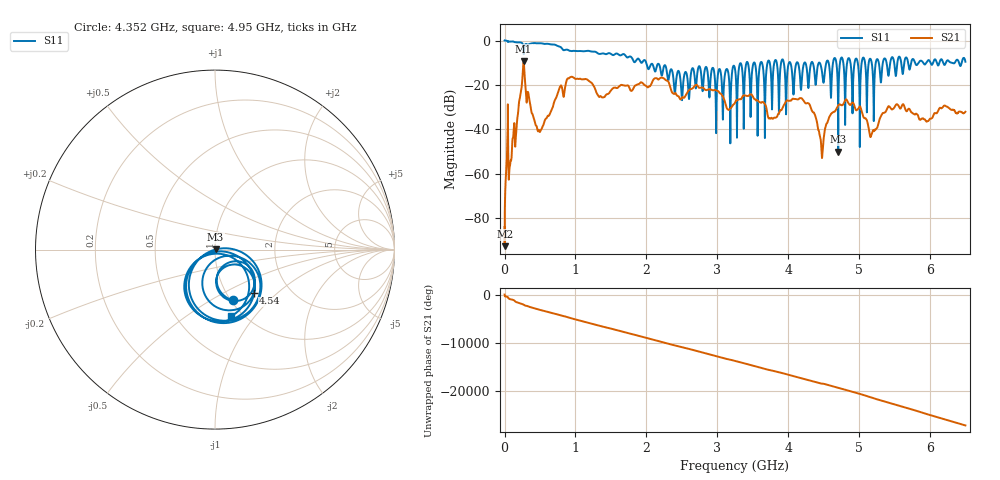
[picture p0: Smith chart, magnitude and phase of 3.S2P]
!Keysight Technologies,E5063A,MY54503115,A.05.08
!Date: Wed Mar 06 09:55:16 2024
!Data & Calibration Information:
!Freq	S11:NONE(--)	S21:NONE(--)	S12:NONE(--)	S22:NONE(--)
# Hz S dB R 50
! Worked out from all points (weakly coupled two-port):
!   10001 points, 100 kHz to 6.5 GHz, reference 50 ohm
!   highest |S21| = -9.44 dB at 268.5 MHz (marker M1); lowest = -92.8 dB at 1.4 MHz (marker M2)
!   lowest |S11| = -50.2 dB at 4.706 GHz (marker M3), VSWR 1.01, Z = 50.3 + j0.0681 ohm
!   |S11| at or under -10 dB: 1.997 GHz to 3.412 GHz (1.415 GHz wide, 52.3 % of centre); 4.136 GHz to 4.229 GHz (93.3 MHz wide, 2.23 % of centre); 4.444 GHz to 4.538 GHz (93.69 MHz wide, 2.09 % of centre) (the widest 3 of 32)
!   S12 and S22 are empty: the file has one direction only
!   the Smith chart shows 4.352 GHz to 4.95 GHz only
!   S11 on the Smith chart (normalised r, x): 4.352 GHz: 1.02, -0.63; 4.54 GHz: 1.32, -0.72; 4.95 GHz: 0.88, -0.77
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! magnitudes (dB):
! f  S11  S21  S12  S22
! 100 kHz  0.0  -84.1  -  -
! 1.4 MHz  0.0  -92.8  -  -
! 39.1 MHz  -0.2  -46.6  -  -
! 85.9 MHz  -0.5  -54.0  -  -
! 268.5 MHz  -6.2  -9.4  -  -
! 491.5 MHz  -1.2  -41.0  -  -
! 779.4 MHz  -2.8  -21.0  -  -
! 1.084 GHz  -4.8  -17.5  -  -
! 1.385 GHz  -5.8  -25.6  -  -
! 2.167 GHz  -10.5  -17.6  -  -
! 2.502 GHz  -26.9  -25.7  -  -
! 2.702 GHz  -20.7  -19.9  -  -
! 3.25 GHz  -12.8  -28.1  -  -
! 4.334 GHz  -9.7  -31.6  -  -
! 4.352 GHz  -10.5  -32.4  -  -
! 4.471 GHz  -12.8  -50.6  -  -
! 4.54 GHz  -9.8  -37.5  -  -
! 4.706 GHz  -50.2  -29.3  -  -
! 4.95 GHz  -8.4  -31.1  -  -
! 5.175 GHz  -9.5  -42.4  -  -
! 5.417 GHz  -15.8  -29.6  -  -
! 6.5 GHz  -9.5  -32.1  -  -
